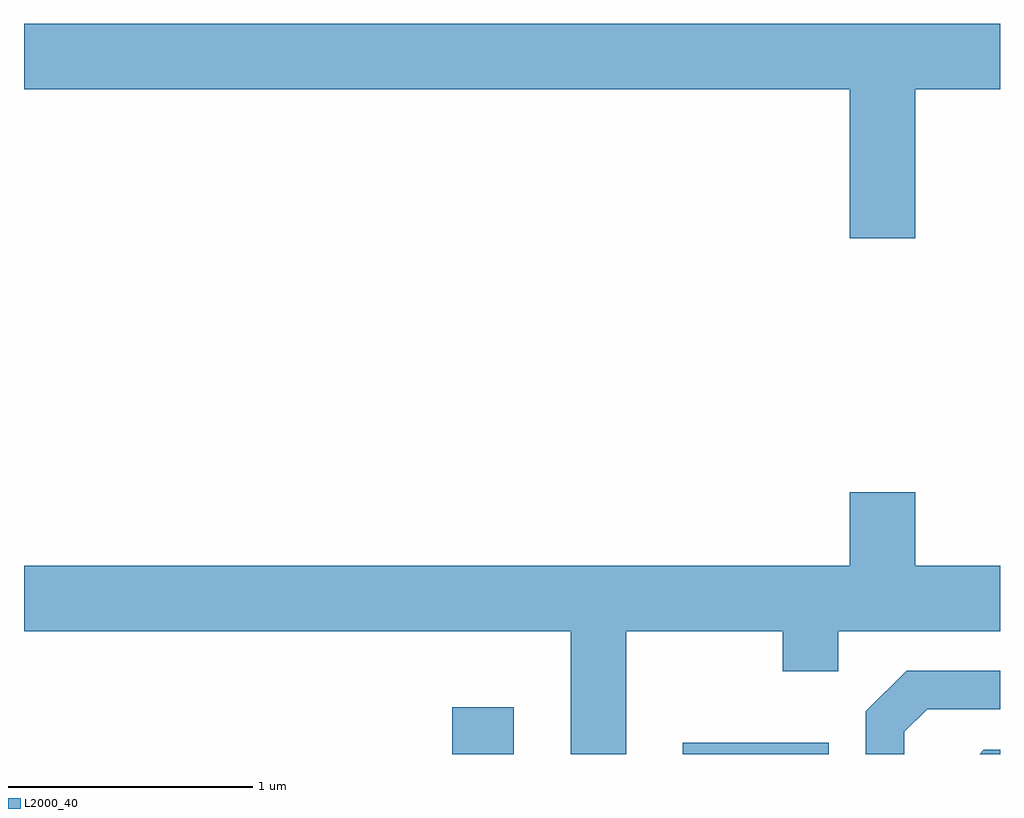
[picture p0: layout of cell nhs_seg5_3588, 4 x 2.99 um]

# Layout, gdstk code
import gdstk
lib = gdstk.Library(unit=1e-6, precision=1e-09)
def R(c, l, rs):  # rectangles x0, y0, x1, y1
    for r in rs: c.add(gdstk.rectangle(r[:2], r[2:], *l))
def P(c, l, *ps):  # polygons
    for p in ps: c.add(gdstk.Polygon(p, *l))
L2000_40 = (2000, 40)

nhs_seg5_3588 = lib.new_cell('nhs_seg5_3588')
R(nhs_seg5_3588, L2000_40, [(293.366,1454.072,293.619,1454.264), (294.311,1454.072,294.909,1454.119)])
P(nhs_seg5_3588, L2000_40, [(295.264,1456.796),(295.611,1456.796),(295.611,1457.064),(291.611,1457.064),(291.611,1456.796),(294.996,1456.796),(294.996,1456.186),(295.264,1456.186)],
  [(294.079,1454.576),(294.721,1454.576),(294.721,1454.411),(294.949,1454.411),(294.949,1454.576),(295.611,1454.576),(295.611,1454.844),(295.264,1454.844),(295.264,1455.144),(294.996,1455.144),(294.996,1454.844),(291.611,1454.844),(291.611,1454.576),(293.851,1454.576),(293.851,1454.072),(294.079,1454.072)],
  [(295.219,1454.164),(295.312,1454.256),(295.611,1454.256),(295.611,1454.414),(295.229,1454.414),(295.061,1454.247),(295.061,1454.072),(295.219,1454.072)],
  [(295.611,1454.089),(295.544,1454.089),(295.527,1454.072),(295.611,1454.072)])

lib.write_gds('nhs_seg5_3588.gds')
